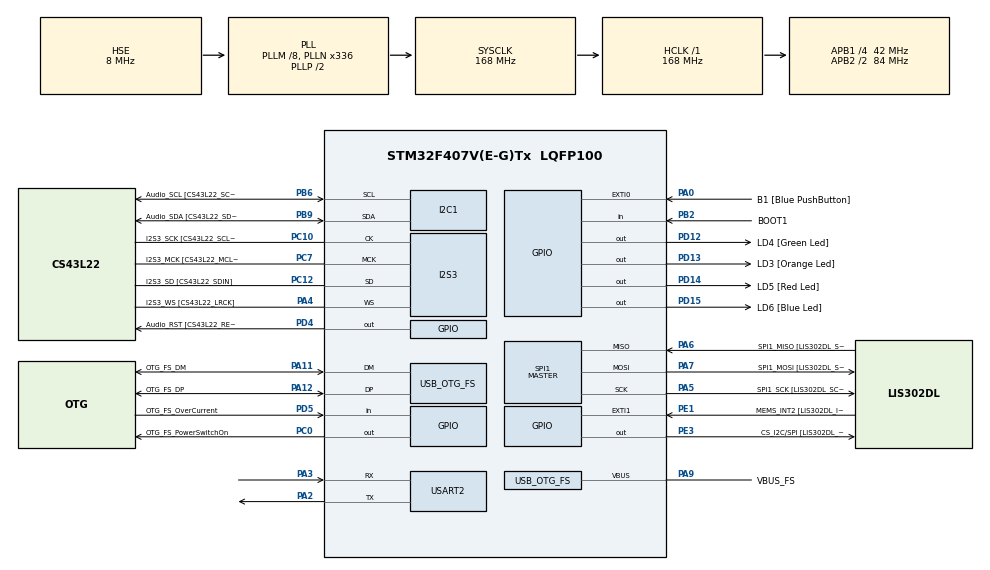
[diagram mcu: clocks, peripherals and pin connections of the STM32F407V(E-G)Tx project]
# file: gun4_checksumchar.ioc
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I2S3.AudioFreq-Half_Duplex_Master=I2S_AUDIOFREQ_96K
I2S3.ErrorAudioFreq=-2.34 %
I2S3.ErrorAudioFreq-Half_Duplex_Master=0.8 %
I2S3.FullDuplexMode=I2S_FULLDUPLEXMODE_DISABLE
I2S3.Instance=SPI$Index
I2S3.RealAudioFreq=93.75 KHz
I2S3.RealAudioFreq-Half_Duplex_Master=96.774 KHz
I2S3.VirtualMode=I2S_MODE_MASTER
Mcu.Family=STM32F4
Mcu.Name=STM32F407V(E-G)Tx
Mcu.Package=LQFP100
NVIC.OTG_FS_IRQn=true\:0\:0\:false\:false\:true\:true\:true\:true
NVIC.PriorityGroup=NVIC_PRIORITYGROUP_0
PA0-WKUP.GPIO_Label=B1 [Blue PushButton]
PA0-WKUP.GPIO_ModeDefaultEXTI=GPIO_MODE_EVT_RISING
PA0-WKUP.GPIO_PuPd=GPIO_NOPULL
PA0-WKUP.Signal=GPXTI0
PA10.GPIO_Label=OTG_FS_ID
PA10.GPIO_Mode=GPIO_MODE_AF_PP
PA10.GPIO_PuPd=GPIO_NOPULL
PA10.GPIO_Speed=GPIO_SPEED_FREQ_LOW
PA10.Signal=USB_OTG_FS_ID
PA11.GPIO_Label=OTG_FS_DM
PA11.GPIO_Mode=GPIO_MODE_AF_PP
PA11.GPIO_PuPd=GPIO_NOPULL
PA11.GPIO_Speed=GPIO_SPEED_FREQ_LOW
PA11.Mode=Host_Only
PA11.Signal=USB_OTG_FS_DM
PA12.GPIO_Label=OTG_FS_DP
PA12.GPIO_Mode=GPIO_MODE_AF_PP
PA12.GPIO_PuPd=GPIO_NOPULL
PA12.GPIO_Speed=GPIO_SPEED_FREQ_LOW
PA12.Mode=Host_Only
PA12.Signal=USB_OTG_FS_DP
PA13.GPIO_Label=SWDIO
PA13.Mode=Serial_Wire
PA13.Signal=SYS_JTMS-SWDIO
PA14.GPIO_Label=SWCLK
PA14.Mode=Serial_Wire
PA14.Signal=SYS_JTCK-SWCLK
PA2.Mode=Asynchronous
PA2.Signal=USART2_TX
PA3.Mode=Asynchronous
PA3.Signal=USART2_RX
PA4.GPIO_Label=I2S3_WS [CS43L22_LRCK]
PA4.GPIO_Mode=GPIO_MODE_AF_PP
PA4.GPIO_PuPd=GPIO_NOPULL
PA4.GPIO_Speed=GPIO_SPEED_FREQ_LOW
PA4.Mode=Half_Duplex_Master
PA4.Signal=I2S3_WS
PA5.GPIO_Label=SPI1_SCK [LIS302DL_SCL/SPC]
PA5.GPIO_Mode=GPIO_MODE_AF_PP
PA5.GPIO_PuPd=GPIO_NOPULL
PA5.GPIO_Speed=GPIO_SPEED_FREQ_LOW
PA5.Mode=Full_Duplex_Master
PA5.Signal=SPI1_SCK
PA6.GPIO_Label=SPI1_MISO [LIS302DL_SDO]
PA6.GPIO_Mode=GPIO_MODE_AF_PP
PA6.GPIO_PuPd=GPIO_NOPULL
PA6.GPIO_Speed=GPIO_SPEED_FREQ_LOW
PA6.Mode=Full_Duplex_Master
PA6.Signal=SPI1_MISO
PA7.GPIO_Label=SPI1_MOSI [LIS302DL_SDA/SDI/SDO]
PA7.GPIO_Mode=GPIO_MODE_AF_PP
PA7.GPIO_PuPd=GPIO_NOPULL
PA7.GPIO_Speed=GPIO_SPEED_FREQ_LOW
PA7.Mode=Full_Duplex_Master
PA7.Signal=SPI1_MOSI
PA9.GPIO_Label=VBUS_FS
PA9.GPIO_Mode=GPIO_MODE_INPUT
PA9.GPIO_PuPd=GPIO_NOPULL
PA9.Mode=Activate_VBUS
PA9.Signal=USB_OTG_FS_VBUS
PB10.GPIO_Label=CLK_IN [MP45DT02_CLK]
PB10.GPIO_Mode=GPIO_MODE_AF_PP
PB10.GPIO_PuPd=GPIO_NOPULL
PB10.GPIO_Speed=GPIO_SPEED_FREQ_LOW
PB10.Signal=I2S2_CK
PB2.GPIO_Label=BOOT1
PB2.GPIO_Mode=GPIO_MODE_INPUT
PB2.GPIO_PuPd=GPIO_NOPULL
PB2.Signal=GPIO_Input
PB3.GPIO_Label=SWO
PB3.Signal=SYS_JTDO-SWO
PB6.GPIO_Label=Audio_SCL [CS43L22_SCL]
PB6.GPIO_Mode=GPIO_MODE_AF_OD
PB6.GPIO_Pu=GPIO_PULLUP
PB6.GPIO_PuPd=GPIO_NOPULL
PB6.GPIO_Speed=GPIO_SPEED_FREQ_LOW
PB6.Mode=I2C
PB6.Signal=I2C1_SCL
PB9.GPIO_Label=Audio_SDA [CS43L22_SDA]
PB9.GPIO_Mode=GPIO_MODE_AF_OD
PB9.GPIO_Pu=GPIO_PULLUP
PB9.GPIO_PuPd=GPIO_NOPULL
PB9.GPIO_Speed=GPIO_SPEED_FREQ_LOW
PB9.Mode=I2C
PB9.Signal=I2C1_SDA
PC0.GPIO_Label=OTG_FS_PowerSwitchOn
PC0.GPIO_PuPd=GPIO_NOPULL
PC0.GPIO_Speed=GPIO_SPEED_FREQ_LOW
PC0.PinState=GPIO_PIN_SET
PC0.Signal=GPIO_Output
PC10.GPIO_Label=I2S3_SCK [CS43L22_SCLK]
PC10.GPIO_Mode=GPIO_MODE_AF_PP
PC10.GPIO_PuPd=GPIO_NOPULL
PC10.GPIO_Speed=GPIO_SPEED_FREQ_LOW
PC10.Mode=Half_Duplex_Master
PC10.Signal=I2S3_CK
PC12.GPIO_Label=I2S3_SD [CS43L22_SDIN]
PC12.GPIO_Mode=GPIO_MODE_AF_PP
PC12.GPIO_PuPd=GPIO_NOPULL
PC12.GPIO_Speed=GPIO_SPEED_FREQ_LOW
PC12.Mode=Half_Duplex_Master
PC12.Signal=I2S3_SD
PC14-OSC32_IN.GPIO_Label=PC14-OSC32_IN
PC14-OSC32_IN.Mode=LSE-External-Oscillator
PC14-OSC32_IN.Signal=RCC_OSC32_IN
PC15-OSC32_OUT.GPIO_Label=PC15-OSC32_OUT
PC15-OSC32_OUT.Mode=LSE-External-Oscillator
PC15-OSC32_OUT.Signal=RCC_OSC32_OUT
PC3.GPIO_Label=PDM_OUT [MP45DT02_DOUT]
PC3.GPIO_Mode=GPIO_MODE_AF_PP
PC3.GPIO_PuPd=GPIO_NOPULL
PC3.GPIO_Speed=GPIO_SPEED_FREQ_LOW
PC3.Signal=I2S2_SD
PC7.GPIO_Label=I2S3_MCK [CS43L22_MCLK]
PC7.GPIO_Mode=GPIO_MODE_AF_PP
PC7.GPIO_PuPd=GPIO_NOPULL
PC7.GPIO_Speed=GPIO_SPEED_FREQ_LOW
PC7.Mode=Master_Clock_Activated
PC7.Signal=I2S3_MCK
PD12.GPIO_Label=LD4 [Green Led]
PD12.GPIO_PuPd=GPIO_NOPULL
PD12.GPIO_Speed=GPIO_SPEED_FREQ_LOW
PD12.Signal=GPIO_Output
PD13.GPIO_Label=LD3 [Orange Led]
PD13.GPIO_PuPd=GPIO_NOPULL
PD13.GPIO_Speed=GPIO_SPEED_FREQ_LOW
PD13.Signal=GPIO_Output
PD14.GPIO_Label=LD5 [Red Led]
PD14.GPIO_PuPd=GPIO_NOPULL
PD14.GPIO_Speed=GPIO_SPEED_FREQ_LOW
PD14.Signal=GPIO_Output
PD15.GPIO_Label=LD6 [Blue Led]
PD15.GPIO_PuPd=GPIO_NOPULL
PD15.GPIO_Speed=GPIO_SPEED_FREQ_LOW
PD15.Signal=GPIO_Output
PD4.GPIO_Label=Audio_RST [CS43L22_RESET]
PD4.GPIO_PuPd=GPIO_NOPULL
PD4.GPIO_Speed=GPIO_SPEED_FREQ_LOW
PD4.Signal=GPIO_Output
PD5.GPIO_Label=OTG_FS_OverCurrent
PD5.GPIO_Mode=GPIO_MODE_INPUT
PD5.GPIO_PuPd=GPIO_NOPULL
PD5.Signal=GPIO_Input
PE1.GPIO_Label=MEMS_INT2 [LIS302DL_INT2]
PE1.GPIO_ModeDefaultEXTI=GPIO_MODE_EVT_RISING
PE1.GPIO_PuPd=GPIO_NOPULL
PE1.Signal=GPXTI1
PE3.GPIO_Label=CS_I2C/SPI [LIS302DL_CS_I2C/SPI]
PE3.GPIO_PuPd=GPIO_NOPULL
PE3.GPIO_Speed=GPIO_SPEED_FREQ_LOW
PE3.Signal=GPIO_Output
PH0-OSC_IN.GPIO_Label=PH0-OSC_IN
PH0-OSC_IN.Mode=HSE-External-Oscillator
PH0-OSC_IN.Signal=RCC_OSC_IN
PH1-OSC_OUT.GPIO_Label=PH1-OSC_OUT
PH1-OSC_OUT.Mode=HSE-External-Oscillator
PH1-OSC_OUT.Signal=RCC_OSC_OUT
ProjectManager.HeapSize=0x200
ProjectManager.StackSize=0x400
ProjectManager.TargetToolchain=STM32CubeIDE
RCC.48MHZClocksFreq_Value=48000000
RCC.AHBFreq_Value=168000000
RCC.APB1CLKDivider=RCC_HCLK_DIV4
RCC.APB1Freq_Value=42000000
RCC.APB1TimFreq_Value=84000000
RCC.APB2CLKDivider=RCC_HCLK_DIV2
RCC.APB2Freq_Value=84000000
RCC.APB2TimFreq_Value=168000000
RCC.CortexFreq_Value=168000000
RCC.HCLKFreq_Value=168000000
RCC.HSE_VALUE=8000000
RCC.HSI_VALUE=16000000
RCC.PLLM=8
RCC.PLLN=336
RCC.PLLQ=7
RCC.SYSCLKFreq_VALUE=168000000
RCC.SYSCLKSource=RCC_SYSCLKSOURCE_PLLCLK
RCC.VCOOutputFreq_Value=336000000
SPI1.BaudRatePrescaler-Full_Duplex_Master=SPI_BAUDRATEPRESCALER_2
SPI1.CalculateBaudRate-Full_Duplex_Master=42.0 MBits/s
SPI1.Direction=SPI_DIRECTION_2LINES
SPI1.Mode=SPI_MODE_MASTER
SPI1.Mode-Full_Duplex_Master=SPI_MODE_MASTER
SPI1.VirtualType=VM_MASTER
USART2.VirtualMode=VM_ASYNC
USB_HOST.BSP.number=1
USB_HOST.USBH_HandleTypeDef-CDC_FS=hUsbHostFS
USB_HOST.VirtualModeFS=Cdc
USB_HOST0.BSP.STBoard=false
USB_HOST0.BSP.api=Unknown
USB_HOST0.BSP.i2caddr=0
USB_HOST0.BSP.i2creg=0
USB_HOST0.BSP.instance=PC0
USB_HOST0.BSP.ip=GPIO
USB_HOST0.BSP.mode=Output
USB_HOST0.BSP.name=Drive_VBUS_FS
USB_HOST0.BSP.solution=PC0
USB_OTG_FS.VirtualMode=Host_Only
USB_OTG_FS.phy_itface=HCD_PHY_EMBEDDED
VP_USB_HOST_VS_USB_HOST_CDC_FS.Mode=CDC_FS
board=STM32F407G-DISC1

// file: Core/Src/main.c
/* USER CODE BEGIN Header */
/**
  ******************************************************************************
  * @file           : main.c
  * @brief          : Main program body
  ******************************************************************************
  * @attention
  *
  * Copyright (c) 2022 STMicroelectronics.
  * All rights reserved.
  *
  * This software is licensed under terms that can be found in the LICENSE file
  * in the root directory of this software component.
  * If no LICENSE file comes with this software, it is provided AS-IS.
  *
  ******************************************************************************
  */
/* USER CODE END Header */
#include "main.h"

/* USER CODE BEGIN Includes */
#include "checksum.h"
#include "button.h"
#include "stdio.h"
#include "stdlib.h"
/* USER CODE END Includes */

/* USER CODE BEGIN PTD */
char rbuffer[6];
char tbuffer[6] = {'1','2','3','4','5','0'};
uint8_t hesap=0;
uint8_t toplam = 0;
uint8_t i = 0;
uint8_t status1 = 0;

/* USER CODE END PTD */

 I2C_HandleTypeDef hi2c1;

I2S_HandleTypeDef hi2s3;

SPI_HandleTypeDef hspi1;

UART_HandleTypeDef huart2;

void SystemClock_Config(void);
static void MX_GPIO_Init(void);
static void MX_I2C1_Init(void);
static void MX_I2S3_Init(void);
static void MX_SPI1_Init(void);
static void MX_USART2_UART_Init(void);

int main(void)
{

  /* MCU Configuration--------------------------------------------------------*/

  /* Reset of all peripherals, Initializes the Flash interface and the Systick. */
  HAL_Init();

  /* Configure the system clock */
  SystemClock_Config();

  /* Initialize all configured peripherals */
  MX_GPIO_Init();
  MX_I2C1_Init();
  MX_I2S3_Init();
  MX_SPI1_Init();
  MX_USART2_UART_Init();

  /* Infinite loop */
  while (1)
  {

    /* USER CODE BEGIN 3 */

	   if (status1==0 &&  (HAL_GPIO_ReadPin(GPIOA,GPIO_PIN_0)==GPIO_PIN_RESET))
		{
			//while((HAL_GPIO_ReadPin(GPIOA,button6Stream_Pin)==GPIO_PIN_SET));

			status1=0;
		}
			 	  	  	//sadece buton low olduğunda ve status=0 olduğunda buton flagini 1 yapıyoruz ve buton okuması gerçekleştiriyoruz
		else if( (status1==0 &&  HAL_GPIO_ReadPin(GPIOA,GPIO_PIN_0)==GPIO_PIN_SET) )
		{
			status1=1;

			button();
			HAL_Delay(100);

	    }
		else if (status1==1 &&  (HAL_GPIO_ReadPin(GPIOA,GPIO_PIN_0)==GPIO_PIN_RESET))
		{
			status1=0;
		}
		else if (status1==1 &&  (HAL_GPIO_ReadPin(GPIOA,GPIO_PIN_0)==GPIO_PIN_SET))
		{
			 status1=1;
		}
		else {}

	 //  checksum();

	  //memset(rbuffer,'\0',sizeof(rbuffer));

  }
  /* USER CODE END 3 */
}

void SystemClock_Config(void)
{
  RCC_OscInitTypeDef RCC_OscInitStruct = {0};
  RCC_ClkInitTypeDef RCC_ClkInitStruct = {0};

  /** Configure the main internal regulator output voltage
  */
  __HAL_RCC_PWR_CLK_ENABLE();
  __HAL_PWR_VOLTAGESCALING_CONFIG(PWR_REGULATOR_VOLTAGE_SCALE1);

  /** Initializes the RCC Oscillators according to the specified parameters
  * in the RCC_OscInitTypeDef structure.
  */
  RCC_OscInitStruct.OscillatorType = RCC_OSCILLATORTYPE_HSE;
  RCC_OscInitStruct.HSEState = RCC_HSE_ON;
  RCC_OscInitStruct.PLL.PLLState = RCC_PLL_ON;
  RCC_OscInitStruct.PLL.PLLSource = RCC_PLLSOURCE_HSE;
  RCC_OscInitStruct.PLL.PLLM = 8;
  RCC_OscInitStruct.PLL.PLLN = 336;
  RCC_OscInitStruct.PLL.PLLP = RCC_PLLP_DIV2;
  RCC_OscInitStruct.PLL.PLLQ = 7;
  if (HAL_RCC_OscConfig(&RCC_OscInitStruct) != HAL_OK)
  {
    Error_Handler();
  }

  /** Initializes the CPU, AHB and APB buses clocks
  */
  RCC_ClkInitStruct.ClockType = RCC_CLOCKTYPE_HCLK|RCC_CLOCKTYPE_SYSCLK
                              |RCC_CLOCKTYPE_PCLK1|RCC_CLOCKTYPE_PCLK2;
  RCC_ClkInitStruct.SYSCLKSource = RCC_SYSCLKSOURCE_PLLCLK;
  RCC_ClkInitStruct.AHBCLKDivider = RCC_SYSCLK_DIV1;
  RCC_ClkInitStruct.APB1CLKDivider = RCC_HCLK_DIV4;
  RCC_ClkInitStruct.APB2CLKDivider = RCC_HCLK_DIV2;

  if (HAL_RCC_ClockConfig(&RCC_ClkInitStruct, FLASH_LATENCY_5) != HAL_OK)
  {
    Error_Handler();
  }
}

static void MX_I2C1_Init(void)
{

  hi2c1.Instance = I2C1;
  hi2c1.Init.ClockSpeed = 100000;
  hi2c1.Init.DutyCycle = I2C_DUTYCYCLE_2;
  hi2c1.Init.OwnAddress1 = 0;
  hi2c1.Init.AddressingMode = I2C_ADDRESSINGMODE_7BIT;
  hi2c1.Init.DualAddressMode = I2C_DUALADDRESS_DISABLE;
  hi2c1.Init.OwnAddress2 = 0;
  hi2c1.Init.GeneralCallMode = I2C_GENERALCALL_DISABLE;
  hi2c1.Init.NoStretchMode = I2C_NOSTRETCH_DISABLE;
  if (HAL_I2C_Init(&hi2c1) != HAL_OK)
  {
    Error_Handler();
  }

}

static void MX_I2S3_Init(void)
{

  hi2s3.Instance = SPI3;
  hi2s3.Init.Mode = I2S_MODE_MASTER_TX;
  hi2s3.Init.Standard = I2S_STANDARD_PHILIPS;
  hi2s3.Init.DataFormat = I2S_DATAFORMAT_16B;
  hi2s3.Init.MCLKOutput = I2S_MCLKOUTPUT_ENABLE;
  hi2s3.Init.AudioFreq = I2S_AUDIOFREQ_96K;
  hi2s3.Init.CPOL = I2S_CPOL_LOW;
  hi2s3.Init.ClockSource = I2S_CLOCK_PLL;
  hi2s3.Init.FullDuplexMode = I2S_FULLDUPLEXMODE_DISABLE;
  if (HAL_I2S_Init(&hi2s3) != HAL_OK)
  {
    Error_Handler();
  }

}

static void MX_SPI1_Init(void)
{

  /* SPI1 parameter configuration*/
  hspi1.Instance = SPI1;
  hspi1.Init.Mode = SPI_MODE_MASTER;
  hspi1.Init.Direction = SPI_DIRECTION_2LINES;
  hspi1.Init.DataSize = SPI_DATASIZE_8BIT;
  hspi1.Init.CLKPolarity = SPI_POLARITY_LOW;
  hspi1.Init.CLKPhase = SPI_PHASE_1EDGE;
  hspi1.Init.NSS = SPI_NSS_SOFT;
  hspi1.Init.BaudRatePrescaler = SPI_BAUDRATEPRESCALER_2;
  hspi1.Init.FirstBit = SPI_FIRSTBIT_MSB;
  hspi1.Init.TIMode = SPI_TIMODE_DISABLE;
  hspi1.Init.CRCCalculation = SPI_CRCCALCULATION_DISABLE;
  hspi1.Init.CRCPolynomial = 10;
  if (HAL_SPI_Init(&hspi1) != HAL_OK)
  {
    Error_Handler();
  }

}

static void MX_USART2_UART_Init(void)
{

  huart2.Instance = USART2;
  huart2.Init.BaudRate = 115200;
  huart2.Init.WordLength = UART_WORDLENGTH_8B;
  huart2.Init.StopBits = UART_STOPBITS_1;
  huart2.Init.Parity = UART_PARITY_NONE;
  huart2.Init.Mode = UART_MODE_TX_RX;
  huart2.Init.HwFlowCtl = UART_HWCONTROL_NONE;
  huart2.Init.OverSampling = UART_OVERSAMPLING_16;
  if (HAL_UART_Init(&huart2) != HAL_OK)
  {
    Error_Handler();
  }

}

static void MX_GPIO_Init(void)
{
  GPIO_InitTypeDef GPIO_InitStruct = {0};

  /* GPIO Ports Clock Enable */
  __HAL_RCC_GPIOE_CLK_ENABLE();
  __HAL_RCC_GPIOC_CLK_ENABLE();
  __HAL_RCC_GPIOH_CLK_ENABLE();
  __HAL_RCC_GPIOA_CLK_ENABLE();
  __HAL_RCC_GPIOB_CLK_ENABLE();
  __HAL_RCC_GPIOD_CLK_ENABLE();

  /*Configure GPIO pin Output Level */
  HAL_GPIO_WritePin(CS_I2C_SPI_GPIO_Port, CS_I2C_SPI_Pin, GPIO_PIN_RESET);

  /*Configure GPIO pin Output Level */
  HAL_GPIO_WritePin(OTG_FS_PowerSwitchOn_GPIO_Port, OTG_FS_PowerSwitchOn_Pin, GPIO_PIN_SET);

  /*Configure GPIO pin Output Level */
  HAL_GPIO_WritePin(GPIOD, LD4_Pin|LD3_Pin|LD5_Pin|LD6_Pin
                          |Audio_RST_Pin, GPIO_PIN_RESET);

  /*Configure GPIO pin : CS_I2C_SPI_Pin */
  GPIO_InitStruct.Pin = CS_I2C_SPI_Pin;
  GPIO_InitStruct.Mode = GPIO_MODE_OUTPUT_PP;
  GPIO_InitStruct.Pull = GPIO_NOPULL;
  GPIO_InitStruct.Speed = GPIO_SPEED_FREQ_LOW;
  HAL_GPIO_Init(CS_I2C_SPI_GPIO_Port, &GPIO_InitStruct);

  /*Configure GPIO pin : OTG_FS_PowerSwitchOn_Pin */
  GPIO_InitStruct.Pin = OTG_FS_PowerSwitchOn_Pin;
  GPIO_InitStruct.Mode = GPIO_MODE_OUTPUT_PP;
  GPIO_InitStruct.Pull = GPIO_NOPULL;
  GPIO_InitStruct.Speed = GPIO_SPEED_FREQ_LOW;
  HAL_GPIO_Init(OTG_FS_PowerSwitchOn_GPIO_Port, &GPIO_InitStruct);

  /*Configure GPIO pin : PDM_OUT_Pin */
  GPIO_InitStruct.Pin = PDM_OUT_Pin;
  GPIO_InitStruct.Mode = GPIO_MODE_AF_PP;
  GPIO_InitStruct.Pull = GPIO_NOPULL;
  GPIO_InitStruct.Speed = GPIO_SPEED_FREQ_LOW;
  GPIO_InitStruct.Alternate = GPIO_AF5_SPI2;
  HAL_GPIO_Init(PDM_OUT_GPIO_Port, &GPIO_InitStruct);

  /*Configure GPIO pin : B1_Pin */
  GPIO_InitStruct.Pin = B1_Pin;
  GPIO_InitStruct.Mode = GPIO_MODE_EVT_RISING;
  GPIO_InitStruct.Pull = GPIO_NOPULL;
  HAL_GPIO_Init(B1_GPIO_Port, &GPIO_InitStruct);

  /*Configure GPIO pin : BOOT1_Pin */
  GPIO_InitStruct.Pin = BOOT1_Pin;
  GPIO_InitStruct.Mode = GPIO_MODE_INPUT;
  GPIO_InitStruct.Pull = GPIO_NOPULL;
  HAL_GPIO_Init(BOOT1_GPIO_Port, &GPIO_InitStruct);

  /*Configure GPIO pin : CLK_IN_Pin */
  GPIO_InitStruct.Pin = CLK_IN_Pin;
  GPIO_InitStruct.Mode = GPIO_MODE_AF_PP;
  GPIO_InitStruct.Pull = GPIO_NOPULL;
  GPIO_InitStruct.Speed = GPIO_SPEED_FREQ_LOW;
  GPIO_InitStruct.Alternate = GPIO_AF5_SPI2;
  HAL_GPIO_Init(CLK_IN_GPIO_Port, &GPIO_InitStruct);

  /*Configure GPIO pins : LD4_Pin LD3_Pin LD5_Pin LD6_Pin
                           Audio_RST_Pin */
  GPIO_InitStruct.Pin = LD4_Pin|LD3_Pin|LD5_Pin|LD6_Pin
                          |Audio_RST_Pin;
  GPIO_InitStruct.Mode = GPIO_MODE_OUTPUT_PP;
  GPIO_InitStruct.Pull = GPIO_NOPULL;
  GPIO_InitStruct.Speed = GPIO_SPEED_FREQ_LOW;
  HAL_GPIO_Init(GPIOD, &GPIO_InitStruct);

  /*Configure GPIO pin : OTG_FS_OverCurrent_Pin */
  GPIO_InitStruct.Pin = OTG_FS_OverCurrent_Pin;
  GPIO_InitStruct.Mode = GPIO_MODE_INPUT;
  GPIO_InitStruct.Pull = GPIO_NOPULL;
  HAL_GPIO_Init(OTG_FS_OverCurrent_GPIO_Port, &GPIO_InitStruct);

  /*Configure GPIO pin : MEMS_INT2_Pin */
  GPIO_InitStruct.Pin = MEMS_INT2_Pin;
  GPIO_InitStruct.Mode = GPIO_MODE_EVT_RISING;
  GPIO_InitStruct.Pull = GPIO_NOPULL;
  HAL_GPIO_Init(MEMS_INT2_GPIO_Port, &GPIO_InitStruct);

}

void Error_Handler(void)
{
  __disable_irq();
  while (1)
  {
  }
}
